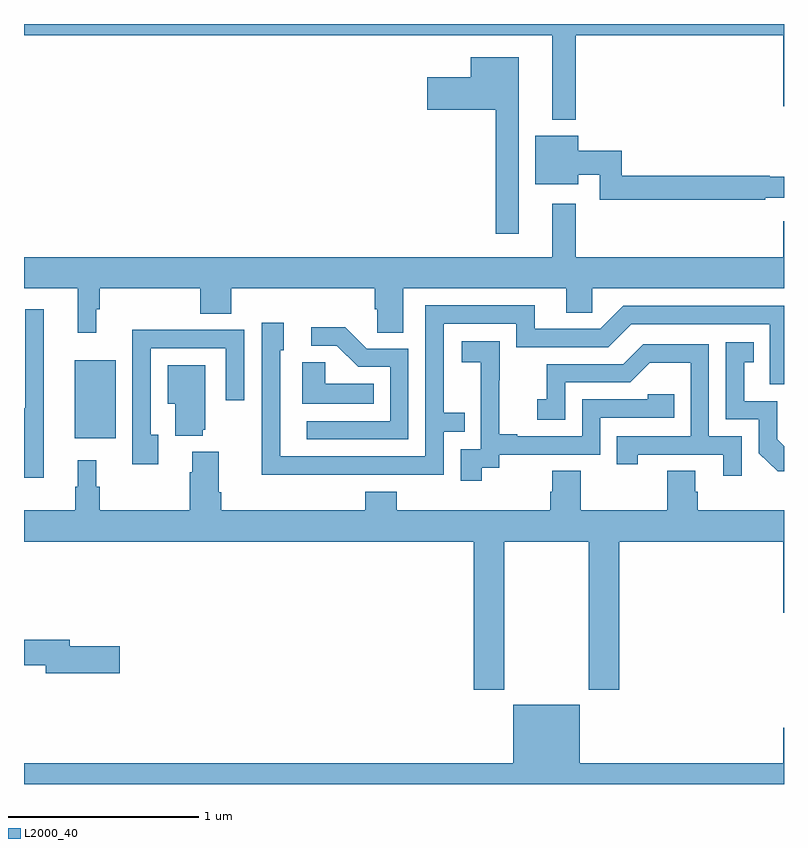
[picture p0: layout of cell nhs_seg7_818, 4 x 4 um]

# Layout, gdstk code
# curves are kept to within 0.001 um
import gdstk
lib = gdstk.Library(unit=1e-6, precision=1e-09)
def R(c, l, rs):  # rectangles x0, y0, x1, y1
    for r in rs: c.add(gdstk.rectangle(r[:2], r[2:], *l))
def P(c, l, *ps):  # polygons
    for p in ps: c.add(gdstk.Polygon(p, *l))
L2000_40 = (2000, 40)

nhs_seg7_818 = lib.new_cell('nhs_seg7_818')
R(nhs_seg7_818, L2000_40, [(173.267,1007.819,173.482,1008.229)])
P(nhs_seg7_818, L2000_40, [(175.903,1009.94),(176.996,1009.94),(176.996,1009.566),(177,1009.566),(177,1010),(173,1010),(173,1009.94),(175.781,1009.94),(175.781,1009.496),(175.903,1009.496)],
  [(175.603,1009.825),(175.352,1009.825),(175.352,1009.72),(175.122,1009.72),(175.122,1009.55),(175.482,1009.55),(175.482,1008.897),(175.603,1008.897)],
  [(176.9,1009.086),(177,1009.086),(177,1009.195),(176.924,1009.195),(176.924,1009.202),(176.147,1009.202),(176.147,1009.334),(175.918,1009.334),(175.918,1009.411),(175.691,1009.411),(175.691,1009.157),(175.918,1009.157),(175.918,1009.206),(176.031,1009.206),(176.031,1009.074),(176.9,1009.074)],
  [(173.381,1008.5),(173.399,1008.5),(173.399,1008.608),(173.927,1008.608),(173.927,1008.475),(174.092,1008.475),(174.092,1008.608),(174.845,1008.608),(174.845,1008.499),(174.858,1008.499),(174.858,1008.376),(174.997,1008.376),(174.997,1008.608),(175.853,1008.608),(175.853,1008.481),(175.992,1008.481),(175.992,1008.608),(177,1008.608),(177,1008.961),(176.996,1008.961),(176.996,1008.772),(175.903,1008.772),(175.903,1009.054),(175.781,1009.054),(175.781,1008.772),(173,1008.772),(173,1008.608),(173.282,1008.608),(173.282,1008.375),(173.381,1008.375)],
  [(174.713,1007.628),(175.209,1007.628),(175.209,1007.853),(175.319,1007.853),(175.319,1007.954),(175.209,1007.954),(175.209,1008.423),(175.59,1008.423),(175.59,1008.3),(176.076,1008.3),(176.196,1008.42),(176.925,1008.42),(176.925,1008.105),(177,1008.105),(177,1008.516),(176.154,1008.516),(176.034,1008.396),(175.687,1008.396),(175.687,1008.519),(175.113,1008.519),(175.113,1007.724),(174.348,1007.724),(174.348,1008.282),(174.367,1008.282),(174.367,1008.427),(174.252,1008.427),(174.252,1007.933),(174.25,1007.933),(174.25,1007.627)],
  [(173.104,1008.499),(173.007,1008.499),(173.007,1007.977),(173,1007.977),(173,1007.612),(173.104,1007.612)],
  [(175.023,1008.291),(174.804,1008.291),(174.691,1008.404),(174.513,1008.404),(174.513,1008.306),(174.647,1008.306),(174.758,1008.195),(174.927,1008.195),(174.927,1007.91),(174.489,1007.91),(174.489,1007.814),(175.023,1007.814)],
  [(173.707,1007.838),(173.667,1007.838),(173.667,1008.294),(174.063,1008.294),(174.063,1008.021),(174.159,1008.021),(174.159,1008.39),(173.843,1008.39),(173.843,1008.392),(173.571,1008.392),(173.571,1007.682),(173.707,1007.682)],
  [(175.408,1007.665),(175.5,1007.665),(175.5,1007.733),(176.034,1007.733),(176.034,1007.928),(176.423,1007.928),(176.423,1008.051),(176.283,1008.051),(176.283,1008.024),(175.938,1008.024),(175.938,1007.829),(175.597,1007.829),(175.597,1007.842),(175.502,1007.842),(175.502,1008.125),(175.503,1008.125),(175.503,1008.331),(175.305,1008.331),(175.305,1008.221),(175.403,1008.221),(175.403,1007.993),(175.404,1007.993),(175.404,1007.763),(175.299,1007.763),(175.299,1007.595),(175.408,1007.595)],
  [(177,1007.778),(176.964,1007.814),(176.964,1008.015),(176.791,1008.015),(176.791,1008.219),(176.84,1008.219),(176.84,1008.325),(176.694,1008.325),(176.694,1007.919),(176.868,1007.919),(176.868,1007.742),(176.966,1007.645),(177,1007.645)],
  [(176.778,1007.829),(176.604,1007.829),(176.604,1008.315),(176.258,1008.315),(176.153,1008.21),(175.75,1008.21),(175.75,1008.025),(175.701,1008.025),(175.701,1007.916),(175.848,1007.916),(175.848,1008.114),(176.19,1008.114),(176.294,1008.218),(176.508,1008.218),(176.508,1007.829),(176.119,1007.829),(176.119,1007.682),(176.23,1007.682),(176.23,1007.733),(176.681,1007.733),(176.681,1007.622),(176.778,1007.622)],
  [(174.842,1008.106),(174.585,1008.106),(174.585,1008.221),(174.464,1008.221),(174.464,1008.002),(174.842,1008.002)],
  [(173.942,1007.865),(173.953,1007.865),(173.953,1008.205),(173.756,1008.205),(173.756,1008.002),(173.795,1008.002),(173.795,1007.834),(173.942,1007.834)],
  [(175.527,1007.276),(175.972,1007.276),(175.972,1006.497),(176.132,1006.497),(176.132,1007.276),(176.996,1007.276),(176.996,1006.902),(177,1006.902),(177,1007.44),(176.546,1007.44),(176.546,1007.538),(176.533,1007.538),(176.533,1007.648),(176.386,1007.648),(176.386,1007.44),(175.929,1007.44),(175.929,1007.648),(175.781,1007.648),(175.781,1007.538),(175.769,1007.538),(175.769,1007.44),(174.962,1007.44),(174.962,1007.539),(174.797,1007.539),(174.797,1007.44),(174.038,1007.44),(174.038,1007.536),(174.025,1007.536),(174.025,1007.749),(173.885,1007.749),(173.885,1007.642),(173.873,1007.642),(173.873,1007.44),(173.399,1007.44),(173.399,1007.564),(173.381,1007.564),(173.381,1007.704),(173.282,1007.704),(173.282,1007.564),(173.271,1007.564),(173.271,1007.44),(173,1007.44),(173,1007.276),(175.367,1007.276),(175.367,1006.497),(175.527,1006.497)],
  [(173.503,1006.724),(173.242,1006.724),(173.242,1006.76),(173,1006.76),(173,1006.624),(173.114,1006.624),(173.114,1006.582),(173.503,1006.582)],
  [(177,1006.297),(176.996,1006.297),(176.996,1006.108),(175.924,1006.108),(175.924,1006.417),(175.574,1006.417),(175.574,1006.108),(173,1006.108),(173,1006),(177,1006)])

lib.write_gds('nhs_seg7_818.gds')
